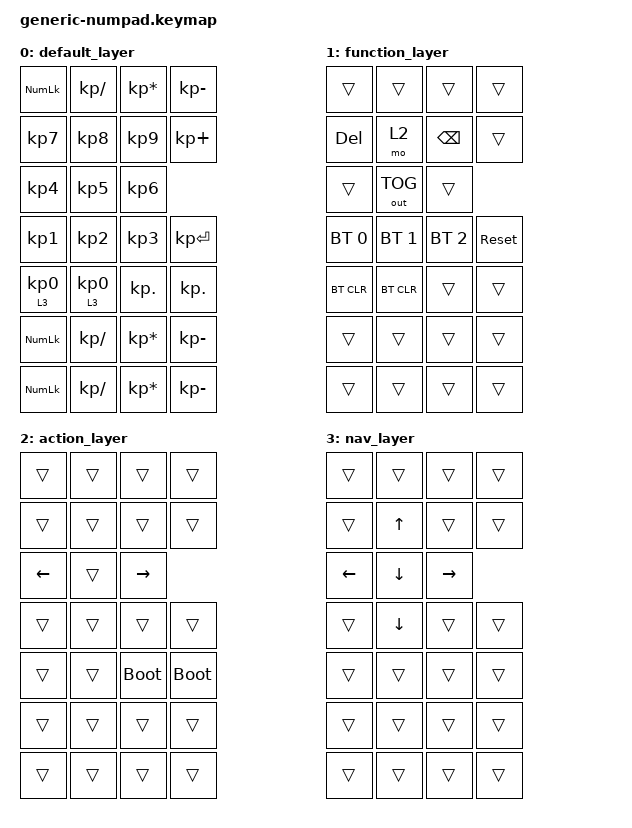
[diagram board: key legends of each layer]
#include <behaviors.dtsi>
#include <dt-bindings/zmk/keys.h>
#include <dt-bindings/zmk/bt.h>
#include <dt-bindings/zmk/outputs.h>




// ------------------default-----------------
// |  NUMLOCK |    /    |    *    |    -    |
// |    7     |    8    |    9    |    +    |
// |    4     |    5    |    6    |         |
// |    1     |    2    |    3    |  ENTER  |
// |          |    0    |         |    .    |


// ----------------------------functions-------------------------------
// |  LAYERSFT  |    NOP             |    NOP    |   Bluetooth PREV   |
// |    NOP     |    LAYERSFT        |    NOP    |   Bluetooth Next   |
// |    NOP     |    OUT_TOG         |    NOP    |                    |
// |Bluetooth 0 |    Bluetooth 1     |Bluetooth 2|   reset            |
// |            |    BluetoothCLR    |           |   NOP              |


// --------------------action layer------------------
// |     NOP   |     NOP   |     NOP   |     NOP    |
// |     NOP   |     NOP   |     NOP   |            |
// |Arrow Left |     NOP   |Arrow Right|     NOP    |
// |     NOP   |     NOP   |     NOP   |     NOP    |
// |           |     NOP   |           | Bootloader |


// --------------------nav layer (hold 0)------------------
// |     NOP   |     NOP   |     NOP   |     NOP    |
// |     NOP   | Arrow Up  |     NOP   |     NOP    |
// |Arrow Left |Arrow Down |Arrow Right|            |
// |     NOP   |Arrow Down |     NOP   |     NOP    |
// |           |     NOP   |           |     NOP    |




/ {
    combos {
        compatible = "zmk,combos";
        combo_backspace {
            timeout-ms = <50>;
            key-positions = <8 9>;
            bindings = <&kp BSPC>;
        };
        combo_tab {
            timeout-ms = <50>;
            key-positions = <9 10>;
            bindings = <&kp TAB>;
        };
    };

    keymap {
        compatible = "zmk,keymap";

        default_layer {
            bindings = <
    &kp KP_NUM    &kp KP_DIVIDE  &kp KP_MULTIPLY   &kp KP_MINUS
    &kp KP_N7     &kp KP_N8      &kp KP_N9         &kp KP_PLUS
    &kp KP_N4     &kp KP_N5      &kp KP_N6
    &kp KP_N1     &kp KP_N2      &kp KP_N3         &kp KP_ENTER
                  &lt 3 KP_N0   &lt 3 KP_N0      &kp KP_DOT        &kp KP_DOT
    /* Cloned Row 0 on Backup Pin 100 (pro_micro 6) */
    &kp KP_NUM    &kp KP_DIVIDE  &kp KP_MULTIPLY   &kp KP_MINUS
    /* Cloned Row 0 on Backup Pin 009 (pro_micro 10) */
    &kp KP_NUM    &kp KP_DIVIDE  &kp KP_MULTIPLY   &kp KP_MINUS
            >;
        };
        function_layer {
            bindings = <
    &trans       &trans          &trans       &trans
    &kp DEL      &mo 2           &kp BSPC     &trans
    &trans       &out OUT_TOG    &trans
    &bt BT_SEL 0 &bt BT_SEL 1    &bt BT_SEL 2 &sys_reset
                 &bt BT_CLR      &bt BT_CLR   &trans       &trans
    /* Cloned Row 0 on Backup Pin 100 (pro_micro 6) */
    &trans       &trans          &trans       &trans
    /* Cloned Row 0 on Backup Pin 009 (pro_micro 10) */
    &trans       &trans          &trans       &trans
            >;
        };
        action_layer {
            bindings = <
    &trans       &trans          &trans       &trans
    &trans       &trans          &trans       &trans
    &kp LEFT     &trans          &kp RIGHT
    &trans       &trans          &trans       &trans
                 &trans          &trans       &bootloader  &bootloader
    /* Cloned Row 0 on Backup Pin 100 (pro_micro 6) */
    &trans       &trans          &trans       &trans
    /* Cloned Row 0 on Backup Pin 009 (pro_micro 10) */
    &trans       &trans          &trans       &trans
            >;
        };
        nav_layer {
            bindings = <
    &trans       &trans          &trans       &trans
    &trans       &kp UP          &trans       &trans
    &kp LEFT     &kp DOWN        &kp RIGHT
    &trans       &kp DOWN        &trans       &trans
                 &trans          &trans       &trans       &trans
    /* Cloned Row 0 on Backup Pin 100 (pro_micro 6) */
    &trans       &trans          &trans       &trans
    /* Cloned Row 0 on Backup Pin 009 (pro_micro 10) */
    &trans       &trans          &trans       &trans
            >;
        };
    };
};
